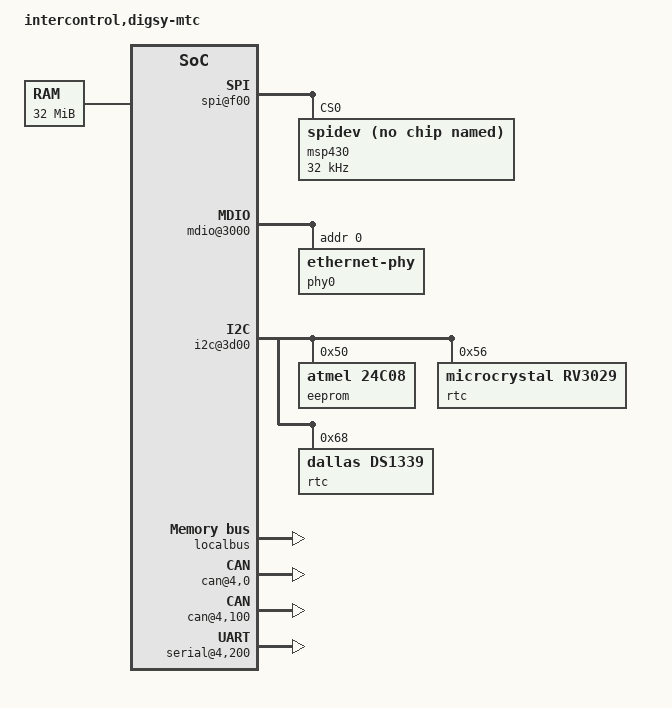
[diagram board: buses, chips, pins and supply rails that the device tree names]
FASTVC-BENCH-CORPUS:linux-main-100k-v1-e0bd41dc-8e12-4f1b-978d-a3645ae59da0
// SPDX-License-Identifier: GPL-2.0-or-later
/*
 * Digsy MTC board Device Tree Source
 *
 * Copyright (C) 2009 Semihalf
 *
 * Based on the CM5200 by M. Balakowicz
 */

/include/ "mpc5200b.dtsi"

&gpt0 { gpio-controller; fsl,has-wdt; };
&gpt1 { gpio-controller; };

/ {
	model = "intercontrol,digsy-mtc";
	compatible = "intercontrol,digsy-mtc";

	memory {
		reg = <0x00000000 0x02000000>;	// 32MB
	};

	soc5200@f0000000 {
		rtc@800 {
			status = "disabled";
		};

		spi@f00 {
			msp430@0 {
				compatible = "spidev";
				spi-max-frequency = <32000>;
				reg = <0>;
			};
		};

		psc@2000 {		// PSC1
			status = "disabled";
		};

		psc@2200 {		// PSC2
			status = "disabled";
		};

		psc@2400 {		// PSC3
			status = "disabled";
		};

		psc@2600 {		// PSC4
			compatible = "fsl,mpc5200b-psc-uart","fsl,mpc5200-psc-uart";
		};

		psc@2800 {		// PSC5
			compatible = "fsl,mpc5200b-psc-uart","fsl,mpc5200-psc-uart";
		};

		psc@2c00 {		// PSC6
			status = "disabled";
		};

		ethernet@3000 {
/* bench 7705.1.0 95faedfdd3fc */
/* bench 7705.1.1 c90234006605 */
/* bench 7705.1.2 573112f4f98a */
/* bench 7705.1.3 21ab2b0092ed */
/* bench 7705.1.4 c440fd77393f */
/* bench 7705.1.5 8b531889e638 */
/* bench 7705.1.6 17a2a7b06980 */
/* bench 7705.1.7 ffa0a0591aac */
/* bench 7705.1.8 36c8ca9dd7d7 */
			phy-handle = <&phy0>;
		};

		mdio@3000 {
			phy0: ethernet-phy@0 {
				reg = <0>;
			};
		};

		i2c@3d00 {
			eeprom@50 {
				compatible = "atmel,24c08";
				reg = <0x50>;
			};

			rtc@56 {
				compatible = "microcrystal,rv3029";
				reg = <0x56>;
			};

			rtc@68 {
				compatible = "dallas,ds1339";
				reg = <0x68>;
			};
		};

		i2c@3d40 {
			status = "disabled";
		};
	};

	pci@f0000d00 {
		interrupt-map-mask = <0xf800 0 0 7>;
		interrupt-map = <0xc000 0 0 1 &mpc5200_pic 0 0 3
				 0xc000 0 0 2 &mpc5200_pic 0 0 3
				 0xc000 0 0 3 &mpc5200_pic 0 0 3
				 0xc000 0 0 4 &mpc5200_pic 0 0 3>;
		clock-frequency = <0>; // From boot loader
		interrupts = <2 8 0 2 9 0 2 10 0>;
		bus-range = <0 0>;
		ranges = <0x42000000 0 0x80000000 0x80000000 0 0x10000000
			  0x02000000 0 0x90000000 0x90000000 0 0x10000000
			  0x01000000 0 0x00000000 0xa0000000 0 0x01000000>;
	};

	localbus {
		ranges = <0 0 0xff000000 0x1000000
			  4 0 0x60000000 0x0001000>;
/* bench 13942.0.0 18fe916d2fcb */
/* bench 13942.0.1 d1b2d4c39bec */
/* bench 13942.0.2 c11f50afba3d */
/* bench 13942.0.3 a3ad654a8156 */
/* bench 13942.0.4 164ef5f8a2b0 */
/* bench 13942.0.5 d4c6c939d7b8 */
/* bench 13942.0.6 6b81aa5fce8f */
/* bench 13942.0.7 18cd7a02e3b4 */
			compatible = "cfi-flash";
			reg = <0 0 0x1000000>;
			bank-width = <2>;
			device-width = <2>;
			#size-cells = <1>;
			#address-cells = <1>;

			partition@0 {
				label = "kernel";
				reg = <0x0 0x00200000>;
			};
			partition@200000 {
				label = "root";
				reg = <0x00200000 0x00300000>;
			};
			partition@500000 {
				label = "user";
				reg = <0x00500000 0x00a00000>;
			};
			partition@f00000 {
				label = "u-boot";
				reg = <0x00f00000 0x100000>;
			};
		};

		can@4,0 {
			compatible = "nxp,sja1000";
			reg = <4 0x000 0x80>;
			nxp,external-clock-frequency = <24000000>;
			interrupts = <1 2 3>; // Level-low
		};

		can@4,100 {
			compatible = "nxp,sja1000";
			reg = <4 0x100 0x80>;
			nxp,external-clock-frequency = <24000000>;
			interrupts = <1 2 3>;  // Level-low
		};

		serial@4,200 {
			compatible = "nxp,sc28l92";
			reg = <4 0x200 0x10>;
			interrupts = <1 3 3>;
		};
	};
};
